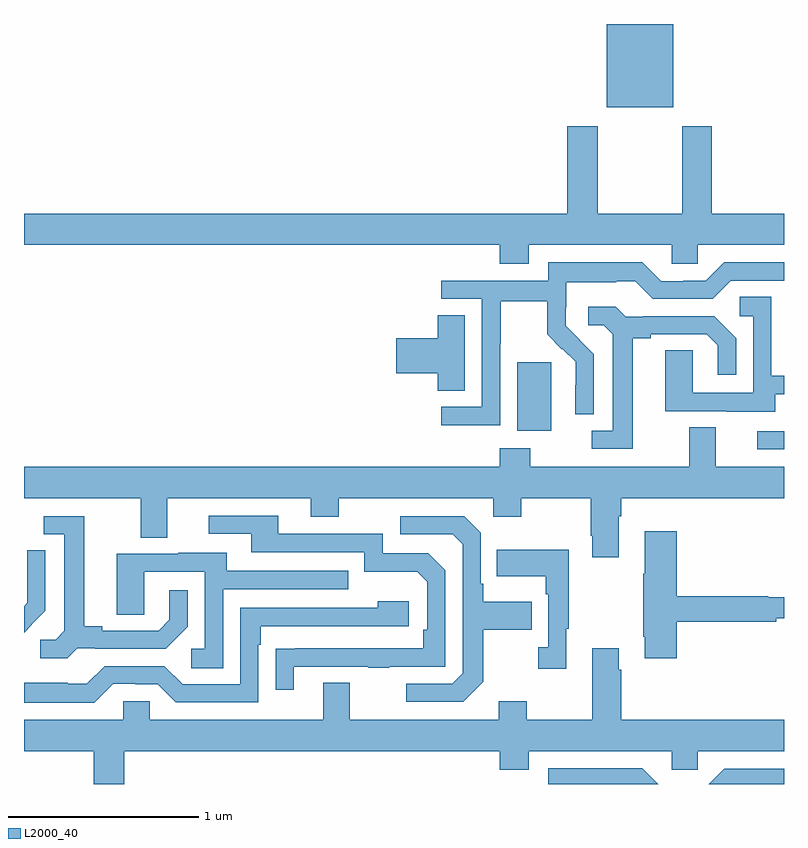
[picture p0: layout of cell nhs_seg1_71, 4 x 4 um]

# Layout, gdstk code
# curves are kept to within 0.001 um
import gdstk
lib = gdstk.Library(unit=1e-6, precision=1e-09)
def R(c, l, rs):  # rectangles x0, y0, x1, y1
    for r in rs: c.add(gdstk.rectangle(r[:2], r[2:], *l))
def P(c, l, *ps):  # polygons
    for p in ps: c.add(gdstk.Polygon(p, *l))
L2000_40 = (2000, 40)

nhs_seg1_71 = lib.new_cell('nhs_seg1_71')
R(nhs_seg1_71, L2000_40, [(116.859,579.96,117,580.056), (115.595,580.058,115.774,580.419), (116.066,581.762,116.416,582.199)])
P(nhs_seg1_71, L2000_40, [(115.657,581.036),(116.409,581.036),(116.409,580.938),(116.547,580.938),(116.547,581.036),(117,581.036),(117,581.2),(116.619,581.2),(116.619,581.662),(116.464,581.662),(116.464,581.2),(116.019,581.2),(116.019,581.662),(115.859,581.662),(115.859,581.2),(113,581.2),(113,581.036),(115.505,581.036),(115.505,580.937),(115.657,580.937)],
  [(115.506,580.516),(115.509,580.516),(115.509,580.74),(115.753,580.74),(115.753,580.565),(115.83,580.488),(115.833,580.491),(115.904,580.421),(115.904,580.298),(115.902,580.298),(115.902,580.144),(115.998,580.144),(115.998,580.462),(115.852,580.61),(115.852,580.707),(115.854,580.707),(115.854,580.841),(116.117,580.841),(116.117,580.845),(116.217,580.845),(116.31,580.752),(116.625,580.752),(116.721,580.848),(117,580.848),(117,580.944),(116.685,580.944),(116.589,580.848),(116.471,580.848),(116.471,580.845),(116.355,580.845),(116.255,580.945),(115.758,580.945),(115.758,580.848),(115.197,580.848),(115.197,580.752),(115.41,580.752),(115.41,580.185),(115.197,580.185),(115.197,580.087),(115.506,580.087)],
  [(116.953,580.251),(117,580.251),(117,580.347),(116.934,580.347),(116.934,580.763),(116.766,580.763),(116.766,580.662),(116.838,580.662),(116.838,580.257),(116.52,580.257),(116.52,580.481),(116.375,580.481),(116.375,580.161),(116.699,580.161),(116.699,580.157),(116.953,580.157)],
  [(116.203,580.544),(116.299,580.544),(116.299,580.566),(116.594,580.566),(116.651,580.509),(116.651,580.353),(116.748,580.353),(116.748,580.546),(116.632,580.662),(116.26,580.662),(116.26,580.659),(116.166,580.659),(116.114,580.711),(115.971,580.711),(115.971,580.614),(116.052,580.614),(116.099,580.567),(116.099,580.059),(115.989,580.059),(115.989,579.963),(116.203,579.963)],
  [(115.321,580.667),(115.178,580.667),(115.178,580.544),(114.96,580.544),(114.96,580.361),(115.178,580.361),(115.178,580.27),(115.321,580.27)],
  [(116.131,579.608),(116.144,579.608),(116.144,579.704),(117,579.704),(117,579.868),(116.641,579.868),(116.641,580.076),(116.501,580.076),(116.501,579.868),(115.665,579.868),(115.665,579.967),(115.505,579.967),(115.505,579.868),(113,579.868),(113,579.704),(113.615,579.704),(113.615,579.496),(113.755,579.496),(113.755,579.704),(114.509,579.704),(114.509,579.605),(114.657,579.605),(114.657,579.704),(115.47,579.704),(115.47,579.605),(115.617,579.605),(115.617,579.704),(115.984,579.704),(115.984,579.505),(115.991,579.505),(115.991,579.393),(116.131,579.393)],
  [(114.421,578.817),(114.811,578.817),(114.811,578.812),(114.923,578.812),(114.923,578.817),(115.218,578.817),(115.218,579.324),(115.128,579.414),(114.888,579.414),(114.888,579.516),(114.337,579.516),(114.337,579.612),(113.973,579.612),(113.973,579.516),(114.197,579.516),(114.197,579.42),(114.792,579.42),(114.792,579.317),(115.069,579.317),(115.122,579.264),(115.122,579.01),(115.102,579.01),(115.102,578.913),(114.325,578.912),(114.325,578.694),(114.421,578.694)],
  [(113.28,578.913),(113.374,578.913),(113.374,578.91),(113.746,578.91),(113.862,579.026),(113.862,579.22),(113.765,579.22),(113.765,579.063),(113.708,579.006),(113.413,579.006),(113.413,579.029),(113.317,579.029),(113.317,579.609),(113.103,579.609),(113.103,579.513),(113.213,579.513),(113.213,579.005),(113.166,578.958),(113.085,578.958),(113.085,578.861),(113.228,578.861)],
  [(115.417,578.737),(115.417,579.01),(115.673,579.01),(115.673,579.157),(115.417,579.157),(115.417,579.253),(115.404,579.253),(115.404,579.522),(115.317,579.609),(114.981,579.609),(114.981,579.513),(115.257,579.513),(115.308,579.462),(115.308,578.781),(115.254,578.727),(115.011,578.727),(115.011,578.631),(115.311,578.631)],
  [(116.435,579.052),(116.96,579.052),(116.96,579.071),(117,579.071),(117,579.181),(116.918,579.181),(116.918,579.188),(116.435,579.188),(116.435,579.529),(116.267,579.529),(116.267,579.305),(116.26,579.305),(116.26,578.974),(116.267,578.974),(116.267,578.862),(116.435,578.862)],
  [(115.855,579.017),(115.867,579.017),(115.867,579.433),(115.489,579.433),(115.489,579.293),(115.746,579.293),(115.746,579.197),(115.758,579.197),(115.758,578.918),(115.707,578.918),(115.707,578.805),(115.855,578.805)],
  [(113.04,579.036),(113.039,579.037),(113.112,579.11),(113.112,579.428),(113.016,579.428),(113.016,579.274),(113.018,579.274),(113.018,579.152),(113,579.134),(113,578.996)],
  [(114.048,579.225),(114.707,579.225),(114.707,579.321),(114.067,579.321),(114.067,579.415),(113.813,579.415),(113.813,579.411),(113.489,579.411),(113.489,579.091),(113.634,579.091),(113.634,579.315),(113.952,579.315),(113.952,578.91),(113.88,578.91),(113.88,578.809),(114.048,578.809)],
  [(113.469,578.727),(113.585,578.727),(113.585,578.724),(113.703,578.724),(113.799,578.628),(114.234,578.628),(114.234,578.933),(114.247,578.933),(114.247,579.03),(115.024,579.03),(115.024,579.16),(114.863,579.16),(114.863,579.126),(114.138,579.126),(114.138,578.724),(113.835,578.724),(113.739,578.82),(113.424,578.82),(113.331,578.727),(113.231,578.727),(113.231,578.731),(113,578.731),(113,578.627),(113.369,578.627)],
  [(113.528,578.372),(115.505,578.372),(115.505,578.273),(115.657,578.273),(115.657,578.372),(116.409,578.372),(116.409,578.274),(116.547,578.274),(116.547,578.372),(117,578.372),(117,578.536),(116.144,578.536),(116.144,578.801),(116.131,578.801),(116.131,578.914),(115.991,578.914),(115.991,578.536),(115.647,578.536),(115.647,578.635),(115.499,578.635),(115.499,578.536),(114.715,578.536),(114.715,578.731),(114.575,578.731),(114.575,578.536),(113.661,578.536),(113.661,578.634),(113.523,578.634),(113.523,578.536),(113,578.536),(113,578.372),(113.368,578.372),(113.368,578.199),(113.528,578.199)],
  [(116.255,578.281),(115.758,578.281),(115.758,578.199),(116.337,578.199)],
  [(117,578.28),(116.685,578.28),(116.604,578.199),(117,578.199)])

lib.write_gds('nhs_seg1_71.gds')
